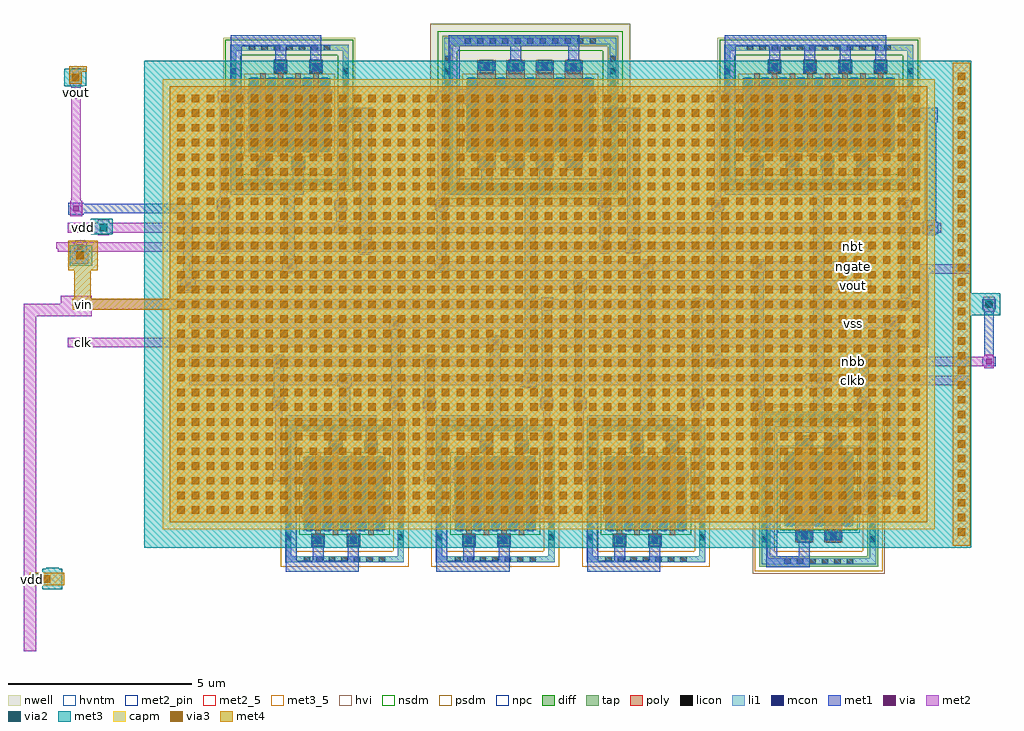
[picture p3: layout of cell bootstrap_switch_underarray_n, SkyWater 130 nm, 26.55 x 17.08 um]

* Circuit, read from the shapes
.subckt bootstrap_switch_underarray_n clk clkb nbb nbt ngate vdd vin vout vss
XM1 vss clkb nbb vss sky130_fd_pr__nfet_01v8 w=2 l=0.15 m=4
XM2 vin clk nbb vss sky130_fd_pr__nfet_01v8 w=2 l=0.15 m=4
XM3 vin ngate vout vss sky130_fd_pr__nfet_01v8 w=2 l=0.15 m=4
XM4 nbb clkb ngate vss sky130_fd_pr__nfet_g5v0d10v5 w=2 l=0.5 m=2
XM5 vdd ngate nbt nbt sky130_fd_pr__pfet_01v8 w=2 l=0.15 m=4
XM6 nbt clkb ngate nbt sky130_fd_pr__pfet_g5v0d10v5 w=2 l=0.5 m=4
XM7 vin clkb nbb vdd sky130_fd_pr__pfet_01v8 w=2 l=0.15 m=8
XC8 nbt nbb sky130_fd_pr__cap_mim_m3_1 w=21 l=12.25
.ends

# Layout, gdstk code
import gdstk
lib = gdstk.Library(unit=1e-6, precision=1e-09)
def R(c, l, rs):  # rectangles x0, y0, x1, y1
    for r in rs: c.add(gdstk.rectangle(r[:2], r[2:], *l))
def A(c, l, x, y, w, h, nx, ny, dx, dy):  # array of equal rectangles
    R(c, l, [(x+i*dx, y+j*dy, x+i*dx+w, y+j*dy+h) for i in range(nx) for j in range(ny)])
nwell = (64, 20)
diff = (65, 20)
tap = (65, 44)
poly = (66, 20)
licon = (66, 44)
li1 = (67, 20)
mcon = (67, 44)
met1 = (68, 20)
via = (68, 44)
met2_5 = (69, 5)
met2_pin = (69, 16)
met2 = (69, 20)
via2 = (69, 44)
met3_5 = (70, 5)
met3 = (70, 20)
via3 = (70, 44)
met4 = (71, 20)
hvi = (75, 20)
capm = (89, 44)
nsdm = (93, 44)
psdm = (94, 20)
npc = (95, 20)
hvntm = (125, 20)

bootstrap_switch_underar = lib.new_cell('bootstrap_switch_underarray_n')
R(bootstrap_switch_underar, nwell, [(2.325,2.665,7.775,7.635), (-3.295,3.055,0.295,7.245), (10.145,3.055,15.655,7.245)])
A(bootstrap_switch_underar, diff, -1.105, -6.15, 2.21, 2, 3, 1, 4.1, 0)
R(bootstrap_switch_underar, diff, [(11.965,-6.03,13.835,-4.03), (-2.605,4.15,-0.395,6.15), (3.325,4.15,6.775,6.15), (10.835,4.15,14.965,6.15)])
A(bootstrap_switch_underar, tap, -1.615, -7.02, 3.23, 0.17, 3, 2, 4.1, 3.57)
R(bootstrap_switch_underar, tap, [(11.285,-7.14,14.515,-6.85), (-1.615,-6.85,-1.445,-3.45), (1.445,-6.85,1.615,-3.45), (2.485,-6.85,2.655,-3.45), (5.545,-6.85,5.715,-3.45), (6.585,-6.85,6.755,-3.45), (9.645,-6.85,9.815,-3.45), (11.285,-6.85,11.575,-3.21), (14.225,-6.85,14.515,-3.21), (11.285,-3.21,14.515,-2.92), (2.655,2.995,7.445,3.285), (-3.115,3.235,0.115,3.405), (10.325,3.235,15.475,3.405), (2.655,3.285,2.945,7.015), (7.155,3.285,7.445,7.015), (-3.115,3.405,-2.945,6.895), (-0.055,3.405,0.115,6.895), (10.325,3.405,10.495,6.895), (15.305,3.405,15.475,6.895), (-3.115,6.895,0.115,7.065), (10.325,6.895,15.475,7.065), (2.655,7.015,7.445,7.305)])
A(bootstrap_switch_underar, poly, 3.615, 3.665, 0.5, 2.97, 4, 1, 0.79, 0)
A(bootstrap_switch_underar, poly, 11.055, 3.665, 0.33, 0.33, 4, 1, 0.96, 0)
A(bootstrap_switch_underar, poly, 11.145, 3.995, 0.15, 2.285, 4, 1, 0.96, 0)
A(bootstrap_switch_underar, poly, 11.625, 4.02, 0.15, 2.285, 4, 1, 0.96, 0)
A(bootstrap_switch_underar, poly, 11.535, 6.305, 0.33, 0.33, 4, 1, 0.96, 0)
R(bootstrap_switch_underar, poly, [(-0.885,-6.59,-0.555,-6.26), (0.075,-6.59,0.405,-6.26), (3.215,-6.59,3.545,-6.26), (4.175,-6.59,4.505,-6.26), (7.315,-6.59,7.645,-6.26), (8.275,-6.59,8.605,-6.26), (12.255,-6.47,12.755,-3.59), (13.045,-6.47,13.545,-3.59), (-0.315,-6.28,-0.165,-4.04), (0.645,-6.28,0.795,-4.04), (3.785,-6.28,3.935,-4.04), (4.745,-6.28,4.895,-4.04), (7.885,-6.28,8.035,-4.04), (8.845,-6.28,8.995,-4.04), (-0.795,-6.26,-0.645,-4.02), (0.165,-6.26,0.315,-4.02), (3.305,-6.26,3.455,-4.02), (4.265,-6.26,4.415,-4.02), (7.405,-6.26,7.555,-4.02), (8.365,-6.26,8.515,-4.02), (-0.405,-4.04,-0.075,-3.71), (0.555,-4.04,0.885,-3.71), (3.695,-4.04,4.025,-3.71), (4.655,-4.04,4.985,-3.71), (7.795,-4.04,8.125,-3.71), (8.755,-4.04,9.085,-3.71), (-2.385,3.665,-2.055,3.995), (-1.425,3.665,-1.095,3.995), (-2.295,3.995,-2.145,6.28), (-1.335,3.995,-1.185,6.28), (-1.815,4.02,-1.665,6.305), (-0.855,4.02,-0.705,6.305), (-1.905,6.305,-1.575,6.635), (-0.945,6.305,-0.615,6.635)])
A(bootstrap_switch_underar, licon, 11.965, -7.08, 0.17, 0.17, 6, 2, 0.34, 3.93)
A(bootstrap_switch_underar, licon, -1.105, -7.02, 0.17, 0.17, 7, 2, 0.34, 3.57)
A(bootstrap_switch_underar, licon, 2.995, -7.02, 0.17, 0.17, 7, 2, 0.34, 3.57)
A(bootstrap_switch_underar, licon, 7.095, -7.02, 0.17, 0.17, 7, 2, 0.34, 3.57)
A(bootstrap_switch_underar, licon, 11.345, -6.475, 0.17, 0.17, 1, 9, 0, 0.34)
A(bootstrap_switch_underar, licon, 14.285, -6.475, 0.17, 0.17, 1, 9, 0, 0.34)
A(bootstrap_switch_underar, licon, -1.615, -6.425, 0.17, 0.17, 1, 8, 0, 0.34)
A(bootstrap_switch_underar, licon, 1.445, -6.425, 0.17, 0.17, 1, 8, 0, 0.34)
A(bootstrap_switch_underar, licon, 2.485, -6.425, 0.17, 0.17, 1, 8, 0, 0.34)
A(bootstrap_switch_underar, licon, 5.545, -6.425, 0.17, 0.17, 1, 8, 0, 0.34)
A(bootstrap_switch_underar, licon, 6.585, -6.425, 0.17, 0.17, 1, 8, 0, 0.34)
A(bootstrap_switch_underar, licon, 9.645, -6.425, 0.17, 0.17, 1, 8, 0, 0.34)
A(bootstrap_switch_underar, licon, -1.045, -6.085, 0.17, 0.17, 5, 6, 0.48, 0.34)
A(bootstrap_switch_underar, licon, 3.055, -6.085, 0.17, 0.17, 5, 6, 0.48, 0.34)
A(bootstrap_switch_underar, licon, 7.155, -6.085, 0.17, 0.17, 5, 6, 0.48, 0.34)
A(bootstrap_switch_underar, licon, 12.025, -5.965, 0.17, 0.17, 3, 6, 0.79, 0.34)
A(bootstrap_switch_underar, licon, 3.265, 3.055, 0.17, 0.17, 11, 2, 0.34, 4.02)
A(bootstrap_switch_underar, licon, -2.605, 3.235, 0.17, 0.17, 7, 2, 0.34, 3.66)
A(bootstrap_switch_underar, licon, 10.945, 3.235, 0.17, 0.17, 12, 2, 0.34, 3.66)
A(bootstrap_switch_underar, licon, 2.715, 3.535, 0.17, 0.17, 1, 10, 0, 0.34)
A(bootstrap_switch_underar, licon, 7.215, 3.535, 0.17, 0.17, 1, 10, 0, 0.34)
A(bootstrap_switch_underar, licon, 3.78, 3.745, 0.17, 0.17, 4, 2, 0.79, 2.64)
A(bootstrap_switch_underar, licon, 11.135, 3.745, 0.17, 0.17, 4, 1, 0.96, 0)
A(bootstrap_switch_underar, licon, -3.115, 3.875, 0.17, 0.17, 1, 8, 0, 0.34)
A(bootstrap_switch_underar, licon, -0.055, 3.875, 0.17, 0.17, 1, 8, 0, 0.34)
A(bootstrap_switch_underar, licon, 10.325, 3.875, 0.17, 0.17, 1, 8, 0, 0.34)
A(bootstrap_switch_underar, licon, 15.305, 3.875, 0.17, 0.17, 1, 8, 0, 0.34)
A(bootstrap_switch_underar, licon, -2.545, 4.215, 0.17, 0.17, 5, 6, 0.48, 0.34)
A(bootstrap_switch_underar, licon, 3.385, 4.215, 0.17, 0.17, 5, 6, 0.79, 0.34)
A(bootstrap_switch_underar, licon, 10.895, 4.215, 0.17, 0.17, 9, 6, 0.48, 0.34)
A(bootstrap_switch_underar, licon, 11.615, 6.385, 0.17, 0.17, 4, 1, 0.96, 0)
R(bootstrap_switch_underar, licon, [(-0.805,-6.51,-0.635,-6.34), (0.155,-6.51,0.325,-6.34), (3.295,-6.51,3.465,-6.34), (4.255,-6.51,4.425,-6.34), (7.395,-6.51,7.565,-6.34), (8.355,-6.51,8.525,-6.34), (12.42,-6.39,12.59,-6.22), (13.21,-6.39,13.38,-6.22), (-0.325,-3.96,-0.155,-3.79), (0.635,-3.96,0.805,-3.79), (3.775,-3.96,3.945,-3.79), (4.735,-3.96,4.905,-3.79), (7.875,-3.96,8.045,-3.79), (8.835,-3.96,9.005,-3.79), (12.42,-3.84,12.59,-3.67), (13.21,-3.84,13.38,-3.67), (-2.305,3.745,-2.135,3.915), (-1.345,3.745,-1.175,3.915), (-1.825,6.385,-1.655,6.555), (-0.865,6.385,-0.695,6.555)])
A(bootstrap_switch_underar, li1, -1.615, -7.02, 3.23, 0.17, 3, 2, 4.1, 3.57)
A(bootstrap_switch_underar, li1, -1.045, -6.17, 0.17, 2.04, 5, 1, 0.48, 0)
A(bootstrap_switch_underar, li1, 3.055, -6.17, 0.17, 2.04, 5, 1, 0.48, 0)
A(bootstrap_switch_underar, li1, 7.155, -6.17, 0.17, 2.04, 5, 1, 0.48, 0)
A(bootstrap_switch_underar, li1, 12.025, -6.05, 0.17, 2.04, 3, 1, 0.79, 0)
A(bootstrap_switch_underar, li1, 3.615, 3.745, 0.5, 0.17, 4, 2, 0.79, 2.64)
A(bootstrap_switch_underar, li1, 11.055, 3.745, 0.33, 0.17, 4, 1, 0.96, 0)
A(bootstrap_switch_underar, li1, -2.545, 4.13, 0.17, 2.04, 5, 1, 0.48, 0)
A(bootstrap_switch_underar, li1, 3.385, 4.13, 0.17, 2.04, 5, 1, 0.79, 0)
A(bootstrap_switch_underar, li1, 10.895, 4.13, 0.17, 2.04, 9, 1, 0.48, 0)
A(bootstrap_switch_underar, li1, 11.535, 6.385, 0.33, 0.17, 4, 1, 0.96, 0)
R(bootstrap_switch_underar, li1, [(11.345,-7.08,14.455,-6.91), (11.345,-6.91,11.515,-3.15), (14.285,-6.91,14.455,-5.19), (-1.615,-6.85,-1.445,-3.45), (1.445,-6.85,1.615,-3.45), (2.485,-6.85,2.655,-3.45), (5.545,-6.85,5.715,-3.45), (6.585,-6.85,6.755,-3.45), (9.645,-6.85,9.815,-3.45), (-0.885,-6.51,-0.555,-6.34), (0.075,-6.51,0.405,-6.34), (3.215,-6.51,3.545,-6.34), (4.175,-6.51,4.505,-6.34), (7.315,-6.51,7.645,-6.34), (8.275,-6.51,8.605,-6.34), (12.255,-6.39,12.755,-6.22), (13.045,-6.39,13.545,-6.22), (14.2,-5.19,14.52,-4.87), (14.285,-4.87,14.455,-3.15), (-0.405,-3.96,-0.075,-3.79), (0.555,-3.96,0.885,-3.79), (3.695,-3.96,4.025,-3.79), (4.655,-3.96,4.985,-3.79), (7.795,-3.96,8.125,-3.79), (8.755,-3.96,9.085,-3.79), (12.255,-3.84,12.755,-3.67), (13.045,-3.84,13.545,-3.67), (11.345,-3.15,14.455,-2.98), (2.715,3.055,7.385,3.225), (2.715,3.225,2.885,7.075), (7.215,3.225,7.385,4.99), (-3.115,3.235,0.115,3.405), (10.325,3.235,15.475,3.405), (-3.115,3.405,-2.945,6.895), (-0.055,3.405,0.115,4.99), (10.325,3.405,10.495,6.895), (15.305,3.405,15.475,4.99), (-2.385,3.745,-2.055,3.915), (-1.425,3.745,-1.095,3.915), (-0.13,4.99,0.19,5.31), (7.14,4.99,7.46,5.31), (15.23,4.99,15.55,5.31), (-0.055,5.31,0.115,6.895), (7.215,5.31,7.385,7.075), (15.305,5.31,15.475,6.895), (-1.905,6.385,-1.575,6.555), (-0.945,6.385,-0.615,6.555), (-3.115,6.895,0.115,7.065), (10.325,6.895,15.475,7.065), (2.715,7.075,7.385,7.245)])
A(bootstrap_switch_underar, mcon, -1.045, -5.955, 0.17, 0.17, 5, 5, 0.48, 0.36)
A(bootstrap_switch_underar, mcon, 3.055, -5.955, 0.17, 0.17, 5, 5, 0.48, 0.36)
A(bootstrap_switch_underar, mcon, 7.155, -5.955, 0.17, 0.17, 5, 5, 0.48, 0.36)
A(bootstrap_switch_underar, mcon, 12.025, -5.835, 0.17, 0.17, 3, 5, 0.79, 0.36)
A(bootstrap_switch_underar, mcon, 3.78, 3.745, 0.17, 0.17, 4, 2, 0.79, 2.64)
A(bootstrap_switch_underar, mcon, 11.135, 3.745, 0.17, 0.17, 4, 1, 0.96, 0)
A(bootstrap_switch_underar, mcon, -2.545, 4.345, 0.17, 0.17, 5, 5, 0.48, 0.36)
A(bootstrap_switch_underar, mcon, 3.385, 4.345, 0.17, 0.17, 5, 5, 0.79, 0.36)
A(bootstrap_switch_underar, mcon, 10.895, 4.345, 0.17, 0.17, 9, 5, 0.48, 0.36)
A(bootstrap_switch_underar, mcon, 11.615, 6.385, 0.17, 0.17, 4, 1, 0.96, 0)
R(bootstrap_switch_underar, mcon, [(-0.805,-6.51,-0.635,-6.34), (0.155,-6.51,0.325,-6.34), (3.295,-6.51,3.465,-6.34), (4.255,-6.51,4.425,-6.34), (7.395,-6.51,7.565,-6.34), (8.355,-6.51,8.525,-6.34), (12.42,-6.39,12.59,-6.22), (13.21,-6.39,13.38,-6.22), (14.275,-5.115,14.445,-4.945), (-0.325,-3.96,-0.155,-3.79), (0.635,-3.96,0.805,-3.79), (3.775,-3.96,3.945,-3.79), (4.735,-3.96,4.905,-3.79), (7.875,-3.96,8.045,-3.79), (8.835,-3.96,9.005,-3.79), (12.42,-3.84,12.59,-3.67), (13.21,-3.84,13.38,-3.67), (-2.305,3.745,-2.135,3.915), (-1.345,3.745,-1.175,3.915), (-0.055,5.065,0.115,5.235), (7.215,5.065,7.385,5.235), (15.305,5.065,15.475,5.235), (-1.825,6.385,-1.655,6.555), (-0.865,6.385,-0.695,6.555)])
A(bootstrap_switch_underar, met1, -1.6, -7.275, 1.99, 0.3, 3, 1, 4.1, 0)
A(bootstrap_switch_underar, met1, -1.6, -6.975, 0.3, 3.65, 3, 1, 4.1, 0)
A(bootstrap_switch_underar, met1, -1.075, -6.15, 0.23, 1.37, 3, 1, 0.96, 0)
A(bootstrap_switch_underar, met1, 3.025, -6.15, 0.23, 1.37, 3, 1, 0.96, 0)
A(bootstrap_switch_underar, met1, 7.125, -6.15, 0.23, 1.37, 3, 1, 0.96, 0)
A(bootstrap_switch_underar, met1, -1.14, -4.78, 0.36, 0.26, 3, 1, 0.96, 0)
A(bootstrap_switch_underar, met1, 2.96, -4.78, 0.36, 0.26, 3, 1, 0.96, 0)
A(bootstrap_switch_underar, met1, 7.06, -4.78, 0.36, 0.26, 3, 1, 0.96, 0)
A(bootstrap_switch_underar, met1, -1.075, -4.52, 0.23, 0.37, 3, 1, 0.96, 0)
A(bootstrap_switch_underar, met1, 3.025, -4.52, 0.23, 0.37, 3, 1, 0.96, 0)
A(bootstrap_switch_underar, met1, 7.125, -4.52, 0.23, 0.37, 3, 1, 0.96, 0)
A(bootstrap_switch_underar, met1, -1.6, -3.325, 2.47, 0.3, 3, 1, 4.1, 0)
A(bootstrap_switch_underar, met1, 11.07, 3.28, 0.3, 0.68, 4, 1, 0.96, 0)
A(bootstrap_switch_underar, met1, 3.635, 3.715, 0.46, 0.23, 4, 2, 0.79, 2.64)
A(bootstrap_switch_underar, met1, -2.575, 4.15, 0.23, 1.37, 3, 1, 0.96, 0)
A(bootstrap_switch_underar, met1, 3.355, 4.15, 0.23, 1.37, 3, 1, 1.58, 0)
A(bootstrap_switch_underar, met1, 10.865, 4.15, 0.23, 1.37, 5, 1, 0.96, 0)
A(bootstrap_switch_underar, met1, 11.345, 4.15, 0.23, 0.37, 4, 1, 0.96, 0)
A(bootstrap_switch_underar, met1, 11.28, 4.52, 0.36, 0.26, 4, 1, 0.96, 0)
A(bootstrap_switch_underar, met1, 11.345, 4.78, 0.23, 1.37, 4, 1, 0.96, 0)
A(bootstrap_switch_underar, met1, -2.64, 5.52, 0.36, 0.26, 3, 1, 0.96, 0)
A(bootstrap_switch_underar, met1, 3.29, 5.52, 0.36, 0.26, 3, 1, 1.58, 0)
A(bootstrap_switch_underar, met1, 10.8, 5.52, 0.36, 0.26, 5, 1, 0.96, 0)
A(bootstrap_switch_underar, met1, -2.575, 5.78, 0.23, 0.37, 3, 1, 0.96, 0)
A(bootstrap_switch_underar, met1, 3.355, 5.78, 0.23, 0.37, 3, 1, 1.58, 0)
A(bootstrap_switch_underar, met1, 10.865, 5.78, 0.23, 0.37, 5, 1, 0.96, 0)
A(bootstrap_switch_underar, met1, 11.55, 6.34, 0.3, 0.68, 4, 1, 0.96, 0)
R(bootstrap_switch_underar, met1, [(11.47,-7.155,12.655,-6.855), (-0.87,-6.975,-0.57,-6.295), (0.09,-6.975,0.39,-6.295), (3.23,-6.975,3.53,-6.295), (4.19,-6.975,4.49,-6.295), (7.33,-6.975,7.63,-6.295), (8.29,-6.975,8.59,-6.295), (11.47,-6.855,11.77,-3.49), (12.355,-6.855,12.655,-6.42), (12.275,-6.42,12.735,-6.19), (13.065,-6.42,13.525,-6.19), (12.355,-6.19,12.655,-6.175), (-0.595,-6.15,-0.365,-5.78), (0.365,-6.15,0.595,-5.78), (3.505,-6.15,3.735,-5.78), (4.465,-6.15,4.695,-5.78), (7.605,-6.15,7.835,-5.78), (8.565,-6.15,8.795,-5.78), (11.995,-6.03,12.225,-4.66), (12.785,-6.03,13.015,-5.66), (13.575,-6.03,13.805,-4.66), (-0.66,-5.78,-0.3,-5.52), (0.3,-5.78,0.66,-5.52), (3.44,-5.78,3.8,-5.52), (4.4,-5.78,4.76,-5.52), (7.54,-5.78,7.9,-5.52), (8.5,-5.78,8.86,-5.52), (12.72,-5.66,13.08,-5.4), (-0.595,-5.52,-0.365,-4.15), (0.365,-5.52,0.595,-4.15), (3.505,-5.52,3.735,-4.15), (4.465,-5.52,4.695,-4.15), (7.605,-5.52,7.835,-4.15), (8.565,-5.52,8.795,-4.15), (12.785,-5.4,13.015,-4.03), (14.16,-5.23,15.11,-5.22), (14.14,-5.22,15.11,-4.84), (14.16,-4.84,15.11,-4.83), (14.75,-4.83,15.07,-0.68), (11.93,-4.66,12.29,-4.4), (13.51,-4.66,13.87,-4.4), (11.995,-4.4,12.225,-4.03), (13.575,-4.4,13.805,-4.03), (-0.39,-4.005,-0.09,-3.325), (0.57,-4.005,0.87,-3.325), (3.71,-4.005,4.01,-3.325), (4.67,-4.005,4.97,-3.325), (7.81,-4.005,8.11,-3.325), (8.77,-4.005,9.07,-3.325), (13.145,-3.885,13.445,-3.87), (12.275,-3.87,12.735,-3.64), (13.065,-3.87,13.525,-3.64), (13.145,-3.64,13.445,-3.49), (11.47,-3.49,13.445,-3.19), (12.76,-3.19,13.06,-2.905), (-0.15,-3.025,0.15,-2.23), (3.95,-3.025,4.25,-1.19), (8.05,-3.025,8.35,0.89), (12.75,-2.905,13.06,-2.66), (11.13,-2.86,11.43,-2.83), (-1.97,-2.83,-1.61,-2.57), (1.22,-2.83,1.58,-2.57), (2.13,-2.83,2.49,-2.57), (5.32,-2.83,5.68,-2.57), (6.23,-2.83,6.59,-2.57), (9.42,-2.83,9.78,-2.57), (11.1,-2.83,11.43,-2.57), (13.95,-2.83,14.31,-2.57), (12.75,-2.66,13.05,-2.23), (-1.92,-2.57,-1.66,-1.69), (1.27,-2.57,1.53,-0.65), (2.18,-2.57,2.44,-1.69), (5.37,-2.57,5.63,-0.155), (6.28,-2.57,6.54,0.39), (9.47,-2.57,9.73,-0.13), (11.13,-2.57,11.43,-2.56), (14,-2.57,14.26,-1.69), (11.15,-2.56,11.41,0.91), (4.815,-2.265,5.225,-1.935), (-0.2,-2.23,0.2,-1.93), (12.7,-2.23,13.1,-1.93), (4.85,-1.935,5.225,-1.93), (4.9,-1.93,5.225,-1.925), (12.75,-1.93,13.05,2.98), (4.9,-1.925,5.2,2.98), (-1.97,-1.69,-1.61,-1.43), (2.13,-1.69,2.49,-1.43), (9.97,-1.69,10.33,-1.43), (13.95,-1.69,14.31,-1.43), (17.35,-1.69,17.71,-1.43), (10.02,-1.43,10.28,2.57), (17.4,-1.43,17.66,-0.13), (3.9,-1.19,4.3,-0.89), (14.7,-0.68,15.12,-0.36), (1.22,-0.65,1.58,-0.39), (5.345,-0.155,5.645,-0.13), (5.345,-0.13,5.68,0.13), (9.42,-0.13,9.78,0.13), (15.08,-0.13,15.44,0.13), (17.35,-0.13,17.71,0.13), (5.345,0.13,5.675,0.185), (15.13,0.13,15.39,2.57), (-4.47,0.36,-4.05,0.68), (6.23,0.39,6.59,0.65), (-4.39,0.68,-4.13,2.47), (-1.7,0.89,-1.3,1.19), (8,0.89,8.4,1.045), (2.46,0.91,2.82,1.17), (11.1,0.91,11.46,1.17), (7.985,1.045,8.4,1.205), (2.51,1.17,2.77,2.57), (-1.65,1.19,-1.35,2.98), (7.995,1.205,8.4,1.225), (0.37,1.4,0.79,1.72), (7.64,1.4,8.06,1.72), (-7.37,1.43,-7.01,1.69), (-3.47,1.43,-3.11,1.69), (6.89,1.43,7.25,1.69), (-3.42,1.69,-3.16,2.57), (6.94,1.69,7.2,2.57), (0.42,1.72,0.74,4.95), (7.69,1.72,8.01,4.95), (15.73,1.92,16.15,2.24), (-0.28,1.95,0.08,2.21), (-0.23,2.21,0.03,2.57), (15.78,2.24,16.1,4.95), (-7.51,2.44,-7.09,2.47), (-7.51,2.47,-4.13,2.73), (-3.47,2.57,-3.11,2.83), (-0.28,2.57,0.08,2.83), (2.46,2.57,2.82,2.83), (6.89,2.57,7.25,2.83), (9.97,2.57,10.33,2.83), (15.08,2.57,15.44,2.83), (-7.51,2.73,-7.09,2.76), (-3.1,2.98,-1.11,3.28), (2.83,2.98,5.595,3.28), (10.34,2.98,14.25,3.28), (-3.1,3.28,-2.8,7.02), (-2.37,3.28,-2.07,3.96), (-1.41,3.28,-1.11,3.96), (2.83,3.28,3.13,7.02), (3.715,3.28,4.015,3.715), (5.295,3.28,5.595,3.715), (10.34,3.28,10.64,7.02), (3.715,3.945,4.015,3.96), (5.295,3.945,5.595,3.96), (-2.095,4.15,-1.865,4.52), (-1.135,4.15,-0.905,4.52), (4.145,4.15,4.375,4.52), (5.725,4.15,5.955,4.52), (-2.16,4.52,-1.8,4.78), (-1.2,4.52,-0.84,4.78), (4.08,4.52,4.44,4.78), (5.66,4.52,6.02,4.78), (-2.095,4.78,-1.865,6.15), (-1.135,4.78,-0.905,6.15), (4.145,4.78,4.375,6.15), (5.725,4.78,5.955,6.15), (-0.17,4.95,0.78,4.96), (7.1,4.95,8.05,4.96), (15.19,4.95,16.14,4.96), (-0.19,4.96,0.78,5.34), (7.08,4.96,8.05,5.34), (15.17,4.96,16.14,5.34), (-0.17,5.34,0.78,5.35), (7.1,5.34,8.05,5.35), (15.19,5.34,16.14,5.35), (-1.89,6.34,-1.59,7.02), (-0.93,6.34,-0.63,7.02), (4.505,6.34,4.805,6.355), (6.085,6.34,6.385,6.355), (4.505,6.585,4.805,7.02), (6.085,6.585,6.385,7.02), (-3.1,7.02,-0.63,7.32), (2.83,7.02,6.385,7.32), (10.34,7.02,14.73,7.32)])
A(bootstrap_switch_underar, via, -1.035, -4.725, 0.15, 0.15, 3, 1, 0.96, 0)
A(bootstrap_switch_underar, via, 3.065, -4.725, 0.15, 0.15, 3, 1, 0.96, 0)
A(bootstrap_switch_underar, via, 7.165, -4.725, 0.15, 0.15, 3, 1, 0.96, 0)
A(bootstrap_switch_underar, via, 11.385, 4.575, 0.15, 0.15, 4, 1, 0.96, 0)
A(bootstrap_switch_underar, via, -2.535, 5.575, 0.15, 0.15, 3, 1, 0.96, 0)
A(bootstrap_switch_underar, via, 3.395, 5.575, 0.15, 0.15, 3, 1, 1.58, 0)
A(bootstrap_switch_underar, via, 10.905, 5.575, 0.15, 0.15, 5, 1, 0.96, 0)
R(bootstrap_switch_underar, via, [(-0.555,-5.725,-0.405,-5.575), (0.405,-5.725,0.555,-5.575), (3.545,-5.725,3.695,-5.575), (4.505,-5.725,4.655,-5.575), (7.645,-5.725,7.795,-5.575), (8.605,-5.725,8.755,-5.575), (12.825,-5.605,12.975,-5.455), (12.035,-4.605,12.185,-4.455), (13.615,-4.605,13.765,-4.455), (-1.865,-2.775,-1.715,-2.625), (1.325,-2.775,1.475,-2.625), (2.235,-2.775,2.385,-2.625), (5.425,-2.775,5.575,-2.625), (6.335,-2.775,6.485,-2.625), (9.525,-2.775,9.675,-2.625), (11.205,-2.775,11.355,-2.625), (14.055,-2.775,14.205,-2.625), (-0.075,-2.155,0.075,-2.005), (4.975,-2.155,5.125,-2.005), (12.825,-2.155,12.975,-2.005), (-1.865,-1.635,-1.715,-1.485), (2.235,-1.635,2.385,-1.485), (10.075,-1.635,10.225,-1.485), (14.055,-1.635,14.205,-1.485), (17.455,-1.635,17.605,-1.485), (4.025,-1.115,4.175,-0.965), (1.325,-0.595,1.475,-0.445), (14.835,-0.595,14.985,-0.445), (5.425,-0.075,5.575,0.075), (9.525,-0.075,9.675,0.075), (15.185,-0.075,15.335,0.075), (17.455,-0.075,17.605,0.075), (-4.335,0.445,-4.185,0.595), (6.335,0.445,6.485,0.595), (-1.575,0.965,-1.425,1.115), (2.565,0.965,2.715,1.115), (8.125,0.965,8.275,1.115), (11.205,0.965,11.355,1.115), (-7.265,1.485,-7.115,1.635), (-3.365,1.485,-3.215,1.635), (0.505,1.485,0.655,1.635), (6.995,1.485,7.145,1.635), (7.775,1.485,7.925,1.635), (-0.175,2.005,-0.025,2.155), (15.865,2.005,16.015,2.155), (-7.375,2.525,-7.225,2.675), (-3.365,2.625,-3.215,2.775), (-0.175,2.625,-0.025,2.775), (2.565,2.625,2.715,2.775), (6.995,2.625,7.145,2.775), (10.075,2.625,10.225,2.775), (15.185,2.625,15.335,2.775), (-2.055,4.575,-1.905,4.725), (-1.095,4.575,-0.945,4.725), (4.185,4.575,4.335,4.725), (5.765,4.575,5.915,4.725)])
A(bootstrap_switch_underar, met2_5, 13.67, 0.42, 0.36, 0.2, 1, 3, 0, 0.52)
R(bootstrap_switch_underar, met2_5, [(13.67,-1.66,14.03,-1.46)])
R(bootstrap_switch_underar, met2_pin, [(13.67,-2.18,14.03,-1.98), (-7.28,-1.14,-6.92,-0.94), (13.67,-0.62,14.03,-0.42), (-7.28,-0.1,-6.92,0.1), (-7.28,1.98,-6.92,2.18), (-7.43,5.6,-7.17,5.9)])
A(bootstrap_switch_underar, met2, -1.16, -5.85, 2.76, 0.4, 3, 1, 4.1, 0)
A(bootstrap_switch_underar, met2, 1.3, -5.45, 0.2, 2.57, 3, 1, 4.1, 0)
A(bootstrap_switch_underar, met2, -1.41, -4.85, 2.57, 0.1, 3, 2, 4.1, 0.3)
A(bootstrap_switch_underar, met2, -1.95, -4.81, 0.32, 0.06, 3, 2, 4.1, 0.26)
A(bootstrap_switch_underar, met2, -1.95, -4.75, 3.11, 0.2, 3, 1, 4.1, 0)
A(bootstrap_switch_underar, met2, -1.89, -4.49, 0.2, 1.61, 3, 1, 4.1, 0)
R(bootstrap_switch_underar, met2, [(-8.72,-9.445,-8.38,-0.325), (11.91,-5.73,14.33,-5.33), (14.03,-5.33,14.23,-2.88), (11.66,-4.73,13.89,-4.63), (11.12,-4.69,11.44,-4.63), (11.12,-4.63,13.89,-4.43), (11.12,-4.43,11.44,-4.37), (11.66,-4.43,13.89,-4.33), (11.18,-4.37,11.38,-2.88), (-1.92,-2.88,-1.66,-2.86), (1.27,-2.88,1.53,-2.86), (2.18,-2.88,2.44,-2.86), (5.37,-2.88,5.63,-2.86), (6.28,-2.88,6.54,-2.86), (9.47,-2.88,9.73,-2.86), (11.15,-2.88,11.41,-2.86), (14,-2.88,14.26,-2.86), (-1.95,-2.86,-1.63,-2.54), (1.24,-2.86,1.56,-2.54), (2.15,-2.86,2.47,-2.54), (5.34,-2.86,5.66,-2.54), (6.25,-2.86,6.57,-2.54), (9.44,-2.86,9.76,-2.54), (11.12,-2.86,11.44,-2.54), (13.97,-2.86,14.29,-2.54), (-1.92,-2.54,-1.66,-2.52), (1.27,-2.54,1.53,-2.52), (2.18,-2.54,2.44,-2.52), (5.37,-2.54,5.63,-2.52), (6.28,-2.54,6.54,-2.52), (9.47,-2.54,9.73,-2.52), (11.15,-2.54,11.41,-2.52), (14,-2.54,14.26,-2.52), (-0.15,-2.28,0.15,-2.21), (4.9,-2.28,5.2,-2.21), (12.55,-2.28,13.25,-2.21), (-4.23,-2.21,17.045,-1.95), (-0.15,-1.95,0.15,-1.88), (4.9,-1.95,5.2,-1.88), (12.55,-1.95,13.25,-1.88), (-1.92,-1.74,-1.66,-1.69), (2.18,-1.74,2.44,-1.69), (10.02,-1.74,10.28,-1.69), (14,-1.74,14.26,-1.69), (17.4,-1.74,17.66,-1.69), (-4.23,-1.69,17.66,-1.43), (-1.92,-1.43,-1.66,-1.38), (2.18,-1.43,2.44,-1.38), (10.02,-1.43,10.28,-1.38), (14,-1.43,14.26,-1.38), (17.4,-1.43,17.66,-1.38), (3.95,-1.24,4.25,-1.17), (-7.53,-1.17,15.89,-0.91), (3.95,-0.91,4.25,-0.84), (15.63,-0.91,15.89,0.825), (14.75,-0.73,15.07,-0.65), (1.27,-0.7,1.53,-0.65), (-4.23,-0.65,15.08,-0.39), (1.27,-0.39,1.53,-0.34), (14.75,-0.39,15.07,-0.31), (-8.72,-0.325,-6.88,-0.13), (17.37,-0.21,17.69,0.21), (5.37,-0.18,5.63,-0.13), (9.47,-0.18,9.73,-0.13), (15.13,-0.18,15.39,-0.13), (-8.72,-0.13,15.43,0.015), (-7.72,0.015,15.43,0.13), (-7.72,0.13,-6.88,0.225), (5.37,0.13,5.63,0.18), (9.47,0.13,9.73,0.18), (15.13,0.13,15.39,0.18), (-4.42,0.31,-4.1,0.39), (6.28,0.34,6.54,0.39), (-4.55,0.39,14.33,0.65), (-4.42,0.65,-4.1,0.73), (6.28,0.65,6.54,0.7), (15.63,0.825,17.045,1.085), (-1.65,0.84,-1.35,0.91), (8.05,0.84,8.35,0.91), (2.51,0.86,2.77,0.91), (11.15,0.86,11.41,0.91), (-4.23,0.91,14.33,1.17), (-7.42,1.105,-6.97,1.43), (-1.65,1.17,-1.35,1.24), (2.51,1.17,2.77,1.22), (8.02,1.17,8.38,1.22), (11.15,1.17,11.41,1.22), (0.42,1.35,0.74,1.43), (-3.42,1.38,-3.16,1.43), (6.94,1.38,7.2,1.43), (7.66,1.38,8.04,1.43), (-7.8,1.43,14.33,1.515), (-7.84,1.515,14.33,1.69), (-7.32,1.69,-7.06,1.74), (-3.42,1.69,-3.16,1.74), (0.42,1.69,0.74,1.77), (6.94,1.69,7.2,1.74), (7.69,1.69,8.01,1.77), (15.78,1.87,16.1,1.95), (-6.72,1.875,-6.4,1.95), (-0.23,1.9,0.03,1.95), (-7.53,1.95,16.23,2.21), (-6.72,2.21,-6.4,2.295), (-0.23,2.21,0.03,2.26), (15.78,2.21,16.1,2.29), (-7.46,2.39,-7.14,2.81), (-3.42,2.52,-3.16,2.54), (-0.23,2.52,0.03,2.54), (2.51,2.52,2.77,2.54), (6.94,2.52,7.2,2.54), (10.02,2.52,10.28,2.54), (15.13,2.52,15.39,2.54), (-3.45,2.54,-3.13,2.86), (-0.26,2.54,0.06,2.86), (2.48,2.54,2.8,2.86), (6.91,2.54,7.23,2.86), (9.99,2.54,10.31,2.86), (15.1,2.54,15.42,2.86), (-7.43,2.81,-7.17,5.955), (-3.42,2.86,-3.16,2.88), (-0.23,2.86,0.03,2.88), (2.51,2.86,2.77,2.88), (6.94,2.86,7.2,2.88), (10.02,2.86,10.28,2.88), (15.13,2.86,15.39,2.88), (-3.39,2.88,-3.19,5.49), (-0.2,2.88,0,4.45), (2.54,2.88,2.74,5.49), (6.97,2.88,7.17,4.45), (10.05,2.88,10.25,5.49), (15.16,2.88,15.36,4.45), (-2.66,4.45,0.1,4.85), (3.27,4.45,7.27,4.85), (10.78,4.45,15.46,4.85), (-2.91,5.45,-0.34,5.55), (3.02,5.45,6.83,5.55), (10.53,5.45,15.02,5.55), (-3.45,5.49,-3.13,5.55), (2.48,5.49,2.8,5.55), (9.99,5.49,10.31,5.55), (-3.45,5.55,-0.34,5.75), (2.48,5.55,6.83,5.75), (9.99,5.55,15.02,5.75), (-3.45,5.75,-3.13,5.81), (-2.91,5.75,-0.34,5.85), (2.48,5.75,2.8,5.81), (3.02,5.75,6.83,5.85), (9.99,5.75,10.31,5.81), (10.53,5.75,15.02,5.85), (-7.48,5.955,-7.16,6.375), (-7.43,6.375,-7.17,6.425)])
R(bootstrap_switch_underar, via2, [(17.43,-0.1,17.63,0.1), (-7.29,1.245,-7.09,1.445), (-6.66,1.985,-6.46,2.185), (-7.42,6.065,-7.22,6.265)])
R(bootstrap_switch_underar, met3_5, [(-8.55,-7.6,-8.44,-7.35)])
R(bootstrap_switch_underar, met3, [(-8.22,-7.755,-7.68,-7.635), (-8.57,-7.635,-7.68,-7.315), (-8.22,-7.315,-7.68,-7.195), (-8.12,-7.195,-7.78,-7.165), (-5.45,-6.625,17.045,-0.3), (-5.45,-0.3,17.83,0.3), (-5.45,0.3,17.045,6.625), (-7.48,1.045,-6.86,1.6), (-6.91,1.9,-6.3,2.32), (-7.62,5.925,-7.02,6.405)])
A(bootstrap_switch_underar, via3, 16.685, -6.3, 0.2, 0.2, 1, 32, 0, 0.4)
A(bootstrap_switch_underar, via3, -4.55, -5.7, 0.2, 0.2, 51, 29, 0.4, 0.4)
R(bootstrap_switch_underar, via3, [(-8.2,-7.575,-8,-7.375), (-7.295,1.225,-7.095,1.425), (-7.42,6.065,-7.22,6.265)])
R(bootstrap_switch_underar, met4, [(-8.57,-7.645,-7.63,-7.305), (16.545,-6.565,17.025,6.565), (-4.755,-5.93,15.855,-0.15), (-7.4,-0.15,15.855,0.15), (-7.35,0.15,-6.9,0.925), (-4.755,0.15,15.855,5.93), (-7.51,0.925,-6.72,1.725), (-7.485,6,-7.155,6.33), (-7.485,6.33,-7.01,6.475)])
R(bootstrap_switch_underar, hvi, [(11.1,-7.325,14.7,-2.735), (2.325,2.665,7.775,7.635)])
R(bootstrap_switch_underar, capm, [(-4.95,-6.125,16.05,6.125)])
A(bootstrap_switch_underar, nsdm, -1.23, -6.275, 2.46, 2.25, 3, 1, 4.1, 0)
R(bootstrap_switch_underar, nsdm, [(11.84,-6.155,13.96,-3.905), (2.53,2.87,7.57,3.41), (-3.24,3.11,0.24,3.53), (10.2,3.11,15.6,3.53), (2.53,3.41,3.07,6.89), (7.03,3.41,7.57,6.89), (-3.24,3.53,-2.82,6.77), (-0.18,3.53,0.24,6.77), (10.2,3.53,10.62,6.77), (15.18,3.53,15.6,6.77), (-3.24,6.77,0.24,7.19), (10.2,6.77,15.6,7.19), (2.53,6.89,7.57,7.43)])
A(bootstrap_switch_underar, psdm, -1.74, -7.145, 3.48, 0.42, 3, 2, 4.1, 3.57)
R(bootstrap_switch_underar, psdm, [(11.16,-7.265,14.64,-6.725), (-1.74,-6.725,-1.32,-3.575), (1.32,-6.725,1.74,-3.575), (2.36,-6.725,2.78,-3.575), (5.42,-6.725,5.84,-3.575), (6.46,-6.725,6.88,-3.575), (9.52,-6.725,9.94,-3.575), (11.16,-6.725,11.7,-3.335), (14.1,-6.725,14.64,-3.335), (11.16,-3.335,14.64,-2.795), (-2.73,4.025,-0.27,6.275), (3.2,4.025,6.9,6.275), (10.71,4.025,15.09,6.275)])
A(bootstrap_switch_underar, npc, 3.68, 3.645, 0.37, 0.37, 4, 2, 0.79, 2.64)
A(bootstrap_switch_underar, npc, 11.035, 3.645, 0.37, 0.37, 4, 1, 0.96, 0)
A(bootstrap_switch_underar, npc, 11.515, 6.285, 0.37, 0.37, 4, 1, 0.96, 0)
R(bootstrap_switch_underar, npc, [(-0.905,-6.61,-0.535,-6.24), (0.055,-6.61,0.425,-6.24), (3.195,-6.61,3.565,-6.24), (4.155,-6.61,4.525,-6.24), (7.295,-6.61,7.665,-6.24), (8.255,-6.61,8.625,-6.24), (12.32,-6.49,12.69,-6.12), (13.11,-6.49,13.48,-6.12), (-0.425,-4.06,-0.055,-3.69), (0.535,-4.06,0.905,-3.69), (3.675,-4.06,4.045,-3.69), (4.635,-4.06,5.005,-3.69), (7.775,-4.06,8.145,-3.69), (8.735,-4.06,9.105,-3.69), (12.32,-3.94,12.69,-3.57), (13.11,-3.94,13.48,-3.57), (-2.405,3.645,-2.035,4.015), (-1.445,3.645,-1.075,4.015), (-1.925,6.285,-1.555,6.655), (-0.965,6.285,-0.595,6.655)])
R(bootstrap_switch_underar, hvntm, [(11.78,-6.215,14.02,-3.845)])
bootstrap_switch_underar.add(gdstk.Label('vss', (13.85,-0.52), layer=69, texttype=5))
bootstrap_switch_underar.add(gdstk.Label('clkb', (13.85,-2.08), layer=69, texttype=5))
bootstrap_switch_underar.add(gdstk.Label('clk', (-7.1,-1.04), layer=69, texttype=5))
bootstrap_switch_underar.add(gdstk.Label('vin', (-7.1,0), layer=69, texttype=5))
bootstrap_switch_underar.add(gdstk.Label('nbt', (13.85,1.56), layer=69, texttype=5))
bootstrap_switch_underar.add(gdstk.Label('ngate', (13.85,1.04), layer=69, texttype=5))
bootstrap_switch_underar.add(gdstk.Label('vout', (13.85,0.52), layer=69, texttype=5))
bootstrap_switch_underar.add(gdstk.Label('vout', (-7.3,5.75), layer=69, texttype=5))
bootstrap_switch_underar.add(gdstk.Label('vdd', (-7.1,2.08), layer=69, texttype=5))
bootstrap_switch_underar.add(gdstk.Label('nbb', (13.85,-1.56), layer=69, texttype=5))
bootstrap_switch_underar.add(gdstk.Label('vdd', (-8.495,-7.475), layer=70, texttype=5))

lib.write_gds('bootstrap_switch_underarray_n.gds')
